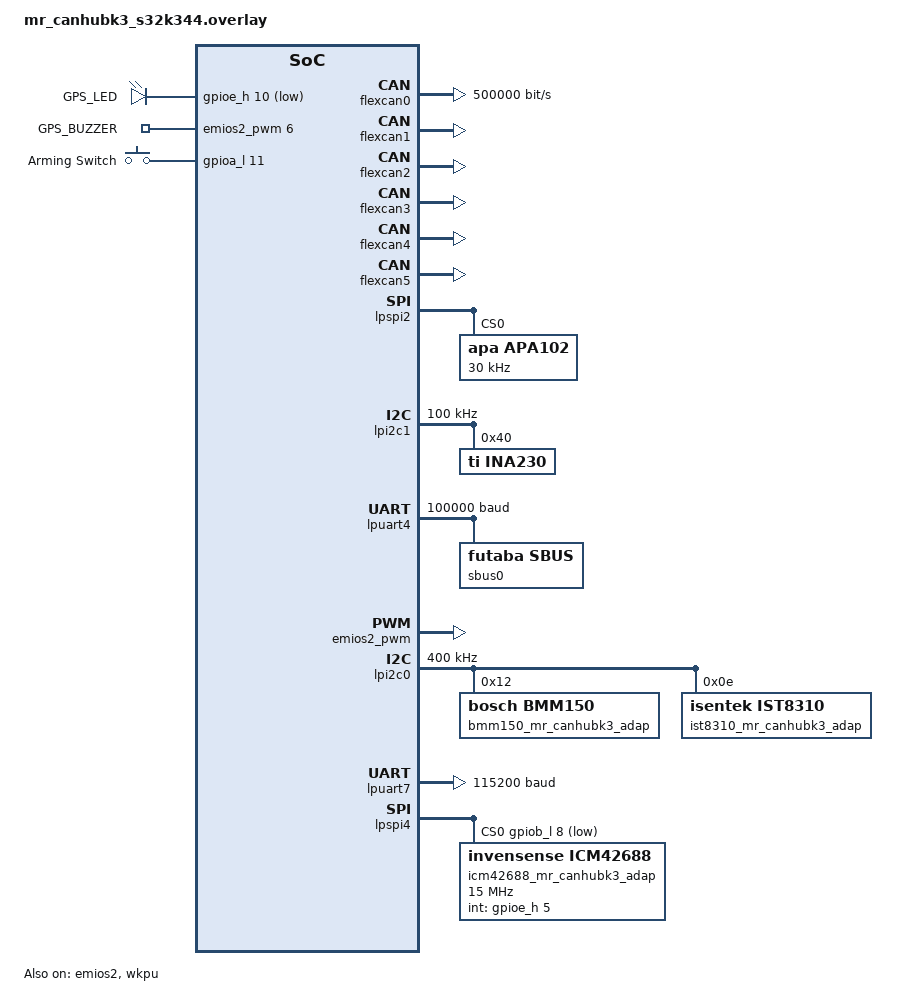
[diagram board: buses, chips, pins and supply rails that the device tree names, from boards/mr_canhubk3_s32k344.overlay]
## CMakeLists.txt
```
#-------------------------------------------------------------------------------
# Zephyr Cerebri Application
#
# Copyright (c) 2023 CogniPilot Foundation
# SPDX-License-Identifier: Apache-2.0

cmake_minimum_required(VERSION 3.13.1)

if (${BOARD} STREQUAL "mr_canhubk3")
  message(STATUS "enabling mr_canhubk3_adap shield")
  set(SHIELD mr_canhubk3_adap)
endif()

find_package(Zephyr REQUIRED HINTS $ENV{ZEPHYR_BASE})

project(b3rb LANGUAGES C)

set(SOURCE_FILES src/main.c)

if (CONFIG_CEREBRI_B3RB_FSM)
  list(APPEND SOURCE_FILES src/fsm.c)
endif()

if (CONFIG_CEREBRI_B3RB_ESTIMATE)
  list(APPEND SOURCE_FILES src/estimate.c)
endif()

if (CONFIG_CEREBRI_B3RB_MIXING)
  list(APPEND SOURCE_FILES src/mixing.c)
endif()

if (CONFIG_CEREBRI_B3RB_LIGHTING)
  list(APPEND SOURCE_FILES src/lighting.c)
endif()

if (CONFIG_CEREBRI_B3RB_MANUAL)
  list(APPEND SOURCE_FILES src/manual.c)
endif()

list(APPEND SOURCE_FILES src/farming.c)

if (CONFIG_CEREBRI_B3RB_POSITION)
  list(APPEND SOURCE_FILES
    src/position.c)
endif()

if (CONFIG_CEREBRI_B3RB_VELOCITY)
  list(APPEND SOURCE_FILES
    src/velocity.c)
endif()

if (CONFIG_CEREBRI_B3RB_CASADI)
  list(APPEND SOURCE_FILES
    src/casadi/gen/b3rb.c)
endif()

set(flags
  -std=c11
  -Wall
  -Wextra
  -Werror
  -Wstrict-prototypes
  -Waggregate-return
  -Wbad-function-cast
  -Wcast-align
  -Wcast-qual
  -Wfloat-equal
  -Wformat-security
  -Wlogical-op
  -Wmissing-declarations
  # ubxlib includes geographiclib which dir doesn't exist
  #-Wmissing-include-dirs
  -Wmissing-prototypes
  -Wnested-externs
  -Wpointer-arith
  -Wredundant-decls
  -Wsequence-point
  -Wshadow
  -Wstrict-prototypes
  -Wswitch
  -Wundef
  -Wunreachable-code
  -Wunused-but-set-parameter
  -Wwrite-strings
  )
string(JOIN " " flags ${flags})

set_source_files_properties(
  ${SOURCE_FILES}
  PROPERTIES COMPILE_FLAGS
  "${flags}"
  )

set_source_files_properties(
  src/casadi/gen/b3rb.c
  PROPERTIES COMPILE_FLAGS
  "${flags}\
  -Wno-unused-parameter\
  -Wno-missing-prototypes\
  -Wno-missing-declarations\
  -Wno-float-equal")

target_sources(app PRIVATE ${SOURCE_FILES})

target_include_directories(app SYSTEM BEFORE PRIVATE ${ZEPHYR_BASE}/include)

# vi: ts=2 sw=2 et
```

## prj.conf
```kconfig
CONFIG_CEREBRI_APP_NAME="b3rb"

CONFIG_SPI=y
CONFIG_DISPLAY=y
CONFIG_DISPLAY_INIT_PRIORITY=90
CONFIG_ST7735R=y

CONFIG_SYS_CLOCK_TICKS_PER_SEC=10000
CONFIG_TICKLESS_KERNEL=n

CONFIG_CEREBRI_DREAM_SIL=n

CONFIG_CEREBRI_B3RB_ESTIMATE=y
CONFIG_CEREBRI_B3RB_FSM=y
CONFIG_CEREBRI_B3RB_MANUAL=y
CONFIG_CEREBRI_B3RB_MIXING=y
CONFIG_CEREBRI_B3RB_POSITION=y
CONFIG_CEREBRI_B3RB_VELOCITY=y
CONFIG_CEREBRI_B3RB_LIGHTING=y
CONFIG_CEREBRI_B3RB_CASADI=y

CONFIG_CEREBRI_ACTUATE_PWM=y
CONFIG_CEREBRI_ACTUATE_LED_ARRAY=y
CONFIG_CEREBRI_ACTUATE_SOUND=y

CONFIG_NET_BUF_RX_COUNT=24
CONFIG_NET_PKT_RX_COUNT=24

CONFIG_CEREBRI_SENSE_POWER=n
CONFIG_CEREBRI_SENSE_SAFETY=n
CONFIG_CEREBRI_SENSE_IMU=y
CONFIG_CEREBRI_SENSE_MAG=y
CONFIG_CEREBRI_SENSE_WHEEL_ODOMETRY=y
CONFIG_CEREBRI_SENSE_UBX_GNSS=y

CONFIG_CEREBRI_SYNAPSE_ETH_RX=y
CONFIG_CEREBRI_SYNAPSE_ETH_TX=y
CONFIG_CEREBRI_SYNAPSE_ETHERNET=n

CONFIG_CEREBRI_SYNAPSE_TOPIC=y
CONFIG_CEREBRI_CORE_COMMON=y
CONFIG_CEREBRI_CORE_COMMON_BOOT_BANNER=y
CONFIG_CEREBRI_SYNAPSE_ZROS=y

CONFIG_SHELL_STACK_SIZE=10240
CONFIG_INIT_STACKS=y

CONFIG_LOG=y
CONFIG_LOG_CMDS=y
CONFIG_LOG_MODE_DEFERRED=y

CONFIG_ASSERT=y
CONFIG_TEST=y
CONFIG_CBPRINTF_FP_SUPPORT=y

# modules
CONFIG_SYNAPSE_PROTOBUF=y
CONFIG_SYNAPSE_TINYFRAME=y
CONFIG_NANOPB=y
CONFIG_UBXLIB=y

# Debug
CONFIG_CEREBRI_SENSE_WHEEL_ODOMETRY_LOG_LEVEL_DBG=n
CONFIG_CEREBRI_SENSE_IMU_LOG_LEVEL_DBG=n
CONFIG_CEREBRI_SENSE_SAFETY_LOG_LEVEL_DBG=n

# General config
CONFIG_POSIX_API=y
CONFIG_NEWLIB_LIBC=y
CONFIG_MAIN_THREAD_PRIORITY=5
CONFIG_SYSTEM_WORKQUEUE_PRIORITY=-2
CONFIG_SYS_CLOCK_TICKS_PER_SEC=10000
# Networking config
CONFIG_NET_SHELL=y
CONFIG_NETWORKING=y
CONFIG_NET_IPV4=y
CONFIG_NET_IPV6=n
CONFIG_NET_TCP=y
CONFIG_NET_SOCKETS=y

# Network address config
CONFIG_NET_CONFIG_SETTINGS=y
CONFIG_NET_STATISTICS=y
CONFIG_NET_MGMT_EVENT_INFO=y
CONFIG_NET_MGMT_EVENT_MONITOR=y
CONFIG_NET_BUF_POOL_USAGE=y
CONFIG_NET_DEBUG_NET_PKT_ALLOC=y
CONFIG_NET_CONFIG_NEED_IPV4=y
CONFIG_NET_CONFIG_MY_IPV4_ADDR="192.0.2.1"
CONFIG_NET_CONFIG_PEER_IPV4_ADDR="192.0.2.2"

# STATS
CONFIG_THREAD_RUNTIME_STATS=y
CONFIG_SCHED_THREAD_USAGE=y
CONFIG_SCHED_THREAD_USAGE_ANALYSIS=y
CONFIG_SCHED_THREAD_USAGE_ALL=y
CONFIG_SCHED_THREAD_USAGE_AUTO_ENABLE=y
```

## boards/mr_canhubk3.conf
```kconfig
CONFIG_GPIO=y

CONFIG_ENTROPY_GENERATOR=y
CONFIG_TEST_RANDOM_GENERATOR=y

CONFIG_CEREBRI_ACTUATE_PWM_NUMBER=2
CONFIG_LED_STRIP=y
CONFIG_APA102_STRIP=y

CONFIG_ETH_NXP_S32_RX_RING_LEN=16

# steering
CONFIG_CEREBRI_ACTUATE_PWM_USE_POS_0=y
CONFIG_CEREBRI_ACTUATE_PWM_INDEX_0=0
CONFIG_CEREBRI_ACTUATE_PWM_LINEAR_0=y
CONFIG_CEREBRI_ACTUATE_PWM_LINEAR_M_0=800
CONFIG_CEREBRI_ACTUATE_PWM_LINEAR_M_DIV_0=1
CONFIG_CEREBRI_ACTUATE_PWM_LINEAR_B_0=1500
CONFIG_CEREBRI_ACTUATE_PWM_LINEAR_B_DIV_0=1

# throttle
CONFIG_CEREBRI_ACTUATE_PWM_INDEX_1=0
CONFIG_CEREBRI_ACTUATE_PWM_USE_NANO_SECONDS_1=y
CONFIG_CEREBRI_ACTUATE_PWM_PULSE_MIN_1=0
CONFIG_CEREBRI_ACTUATE_PWM_PULSE_MAX_1=500000
CONFIG_CEREBRI_ACTUATE_PWM_PULSE_CENTER_1=25000
CONFIG_CEREBRI_ACTUATE_PWM_LINEAR_1=y
CONFIG_CEREBRI_ACTUATE_PWM_LINEAR_M_1=717
CONFIG_CEREBRI_ACTUATE_PWM_LINEAR_M_DIV_1=1
CONFIG_CEREBRI_ACTUATE_PWM_LINEAR_B_1=25000
CONFIG_CEREBRI_ACTUATE_PWM_LINEAR_B_DIV_1=1

# GPS M10
CONFIG_CEREBRI_SENSE_UBX_GNSS_MODULE_TYPE_M10=y

CONFIG_PWM=y

CONFIG_CAN=y
CONFIG_CAN_MAX_FILTER=5
CONFIG_CAN_SHELL=y

CONFIG_NET_DRIVERS=y
CONFIG_NET_CANBUS=y

CONFIG_NET_SOCKETS_CAN=y
CONFIG_NET_DEFAULT_IF_CANBUS_RAW=y

CONFIG_CAN_LOG_LEVEL_DBG=n
CONFIG_CAN_FD_MODE=y
CONFIG_SHELL_ARGC_MAX=72
CONFIG_I2C=y
CONFIG_SENSOR=y
CONFIG_HEAP_MEM_POOL_SIZE=16384

# Debugging
CONFIG_DEBUG_THREAD_INFO=y

# Logging
#CONFIG_LOG_BACKEND_NET=n
#CONFIG_LOG_BACKEND_NET_SERVER="192.0.2.2"
```

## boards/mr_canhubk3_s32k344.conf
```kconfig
CONFIG_ENTROPY_GENERATOR=y
CONFIG_TEST_RANDOM_GENERATOR=y
CONFIG_SPEED_OPTIMIZATIONS=y
CONFIG_SIZE_OPTIMIZATIONS=n

CONFIG_DISK_ACCESS=n
CONFIG_FS_FATFS_EXFAT=n
CONFIG_DISK_DRIVER_SDMMC=n
CONFIG_FS_FATFS_MOUNT_MKFS=n
CONFIG_CEREBRI_SYNAPSE_LOG_SDCARD=n

CONFIG_TEST=y
CONFIG_UBSAN=n
CONFIG_ASSERT=y
CONFIG_ASSERT_LEVEL=2
CONFIG_ASSERT_VERBOSE=y

CONFIG_SYSTEM_WORKQUEUE_STACK_SIZE=4096

CONFIG_STACK_CANARIES=y

CONFIG_ISR_STACK_SIZE=2048

CONFIG_LOG_MODE_DEFERRED=y
CONFIG_LOG_MODE_IMMEDIATE=n

CONFIG_FPU=y

# config
CONFIG_INPUT=y
CONFIG_INPUT_GPIO_KEYS=y
CONFIG_INPUT_SBUS=y
CONFIG_INPUT_SBUS_THREAD_STACK_SIZE=8192
CONFIG_INPUT_SBUS_REPORT_FILTER=0
CONFIG_INPUT_EVENT_DUMP=n
CONFIG_INPUT_SHELL=n
CONFIG_INPUT_MODE_SYNCHRONOUS=y
CONFIG_INPUT_THREAD_STACK_SIZE=2048


CONFIG_CEREBRI_SENSE_SBUS=y
CONFIG_CEREBRI_SENSE_IMU=y
CONFIG_CEREBRI_SENSE_MAG=y
CONFIG_CEREBRI_SENSE_SAFETY=y
CONFIG_CEREBRI_SENSE_UBX_GNSS=y

CONFIG_CEREBRI_SYNAPSE_ETH_RX=y
CONFIG_CEREBRI_SYNAPSE_ETH_TX=y

CONFIG_PWM=y
CONFIG_CEREBRI_ACTUATE_PWM=y
CONFIG_CEREBRI_ACTUATE_PWM_SHELL=n

CONFIG_LED_STRIP=y
CONFIG_APA102_STRIP=y
CONFIG_CEREBRI_ACTUATE_LED_ARRAY=y
CONFIG_CEREBRI_SENSE_MAG_COUNT=2
CONFIG_CEREBRI_SENSE_POWER=n
CONFIG_CEREBRI_ACTUATE_SOUND=y

CONFIG_ETH_NXP_S32_RX_RING_LEN=16

CONFIG_CAN=y
CONFIG_CAN_MAX_FILTER=5
CONFIG_CAN_SHELL=y

CONFIG_NET_DRIVERS=y
CONFIG_NET_CANBUS=y

CONFIG_NET_SOCKETS_CAN=y
CONFIG_NET_DEFAULT_IF_CANBUS_RAW=y

CONFIG_CAN_LOG_LEVEL_DBG=y
CONFIG_CAN_FD_MODE=y
CONFIG_SHELL_ARGC_MAX=72
CONFIG_I2C=y
CONFIG_SENSOR=y
CONFIG_SENSOR_SHELL=y
CONFIG_HEAP_MEM_POOL_SIZE=16384

# Debugging
CONFIG_DEBUG_THREAD_INFO=y

# Logging
#CONFIG_LOG_BACKEND_NET=n
#CONFIG_LOG_BACKEND_NET_SERVER="192.0.2.2"
```

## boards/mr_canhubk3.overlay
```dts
/* SPDX-License-Identifier: Apache-2.0 */
/* Copyright 2023 CogniPilot Foundation */
#include <zephyr/dt-bindings/sensor/ina230.h>

&eirq0_default {
	group1 {
		pinmux = <PTD15_EIRQ31>, <PTA18_EIRQ0>, <PTA25_EIRQ5>,
			 <PTD5_EIRQ13>, <PTA11_EIRQ19>, <PTE1_EIRQ1>;
		input-enable;
	};
};

&gpioa_l {
	status = "okay";
};

&gpioe_l {
	status = "okay";
};

// Notes for using the external GPIO.
// int-gpios = <&gpioa_l 11 GPIO_ACTIVE_LOW>; /* EXT_GPIO1 */
// xshut-gpios = <&gpioe_l 1 GPIO_ACTIVE_HIGH>; /* EXT_GPIO2 */

/ {
	pwm_shell: pwm_shell {
		compatible = "pwm-leds";
		aux0: aux0 {
			pwms = <&emios0_pwm 0 PWM_HZ(50) PWM_POLARITY_NORMAL>;
		};
		aux1: aux1 {
			pwms = <&emios0_pwm 2 PWM_HZ(20000) PWM_POLARITY_NORMAL>;
		};
		aux2: aux2 {
			pwms = <&emios0_pwm 1 PWM_HZ(20000) PWM_POLARITY_NORMAL>;
		};
		aux3: aux3 {
			pwms = <&emios0_pwm 3 PWM_HZ(50) PWM_POLARITY_NORMAL>;
		};
		aux4: aux4 {
			pwms = <&emios0_pwm 4 PWM_HZ(50) PWM_POLARITY_NORMAL>;
		};
		aux5: aux5 {
			pwms = <&emios0_pwm 5 PWM_HZ(50) PWM_POLARITY_NORMAL>;
		};
	};

	chosen {
		zephyr,canbus = &flexcan3;
	};

	aliases {
		can0 = &flexcan0;
		can1 = &flexcan1;
		can2 = &flexcan2;
		can3 = &flexcan3;
		can4 = &flexcan4;
		can5 = &flexcan5;
		/* power sensors */
		power0 = &ina230;
		/* safety button */
		safety-button = &arming_button_mr_canhubk3_adap;
		/* wheel odometry */
		wheel-odometry0 = &qdec0;
	};
};

&emios0_pwm {
	pwm_0 {
	};
	pwm_1 {
		prescaler = <1>;
		duty-cycle = <0>;
	};
	pwm_2 {
		prescaler = <1>;
	};
	pwm_3 {
		prescaler = <16>;
	};
	pwm_4 {
		prescaler = <16>;
	};
	pwm_5 {
		prescaler = <16>;
	};
};



&flexcan0 {
	status = "okay";
	bus-speed = <1000000>;
	bus-speed-data = <4000000>;
};

&flexcan1 {
	status = "okay";
	bus-speed = <1000000>;
	bus-speed-data = <4000000>;
};

&flexcan2 {
	status = "okay";
	bus-speed = <1000000>;
	bus-speed-data = <4000000>;
};

&flexcan3 {
	status = "okay";
	bus-speed = <1000000>;
	bus-speed-data = <4000000>;
};

&flexcan4 {
	status = "okay";
	bus-speed = <1000000>;
	bus-speed-data = <4000000>;
};

&flexcan5 {
	status = "okay";
	bus-speed = <1000000>;
	bus-speed-data = <4000000>;
};

&lpspi2 {
	status = "okay";
	apa102: apa102@0 {
	compatible = "apa,apa102";
		status = "okay";
		reg = <0>;
		spi-max-frequency = <30000>;
	};
};

&lpi2c1 {
	status = "okay";
	pinctrl-0 = <&lpi2c1_default>;
	pinctrl-names = "default";
	clock-frequency = <I2C_BITRATE_STANDARD>;

	ina230: ina230@40 {
		compatible = "ti,ina230";
		reg = <0x40>;
		current-lsb-microamps = <10000>;
		rshunt-micro-ohms = <2000>;
	};
};

/* GNSS 1 */
uart0: &lpuart7 {
	status = "okay";
	current-speed = <115200>;
};
```

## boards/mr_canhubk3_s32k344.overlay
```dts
/* SPDX-License-Identifier: Apache-2.0 */
/* Copyright 2023 CogniPilot Foundation */
#include <freq.h>
#include <zephyr/dt-bindings/gpio/nxp-s32-gpio.h>
#include <zephyr/dt-bindings/input/input-event-codes.h>
#include <zephyr/dt-bindings/led/led.h>
#include <zephyr/dt-bindings/sensor/ina230.h>
#include <zephyr/dt-bindings/sensor/icm42688.h>

/ {
	vesc_actuators: vesc_actuators {
		status = "okay";
		device = <&flexcan0>;
		compatible = "cerebri,vesc_can-actuators";
		// fd;
		pub-wheel-odometry;
		status-rate = <1>;

		vesc_child_1 {
			vesc-id = <0>;
			pole-pair = <15>;
			input-index = <0>;
			input-type = "velocity";
		};

	};

	/*
	pwm_actuators: pwm_actuators {
		compatible = "cerebri,pwm-actuators";
		aux0 {
			input-type = "position";
			input-index = <0>;
			pwms = <&emios0_pwm 0 PWM_HZ(50) PWM_POLARITY_NORMAL>;
			disarmed = <1500>;
			min = <1100>;
			max = <1900>;
			center = <1500>;
			scale = <800>;
			scale-div = <1>;

		};
		aux1 {
			input-type = "velocity";
			input-index = <0>;
			pwms = <&emios0_pwm 2 PWM_HZ(20000) PWM_POLARITY_NORMAL>;
			disarmed = <25000>;
			min = <0>;
			max = <50000>;
			center = <25000>;
			scale = <717>;
			scale-div = <1>;
			use-nano-seconds;
		};
		aux2 {
			input-type = "normalized";
			input-index = <0>;
			pwms = <&emios0_pwm 1 PWM_HZ(20000) PWM_POLARITY_NORMAL>;
			disarmed = <0>;
			min = <0>;
			max = <50000>;
			center = <0>;
			scale = <50000>;
			scale-div = <1>;
			use-nano-seconds;
		};
	};
	*/

	chosen {
		zephyr,canbus = &flexcan3;
	};

	aliases {
		can0 = &flexcan0;
		can1 = &flexcan1;
		can2 = &flexcan2;
		can3 = &flexcan3;
		can4 = &flexcan4;
		can5 = &flexcan5;
		accel0 = &icm42688_mr_canhubk3_adap;
		gyro0 = &icm42688_mr_canhubk3_adap;
		mag0 = &bmm150_mr_canhubk3_adap;
		mag1 = &ist8310_mr_canhubk3_adap;
		led0 = &gps_led_mr_canhubk3_adap;
		buzzer = &gps_buzzer_mr_canhubk3_adap;
		power0 = &ina230;
		wheel-odometry0 = &qdec0;
		sbus = &sbus0;
		safety-button = &safety_button_mr_canhubk3_adap;
	};
	cfg-device-gnss {
		status = "okay";
		compatible = "u-blox,ubxlib-device-gnss";
		transport-type = "uart0";
		uart-baud-rate = <115200>;
		module-type = "U_GNSS_MODULE_TYPE_M10";
	};
	leds {
		gps_led_mr_canhubk3_adap: gps_led {
			label = "GPS_LED";
			gpios = <&gpioe_h 10 GPIO_ACTIVE_LOW>;
		};
	};
	pwmbuzzers {
		compatible = "pwm-leds";

		gps_buzzer_mr_canhubk3_adap: gps_buzzer {
			label = "GPS_BUZZER";
			pwms = <&emios2_pwm 6 PWM_KHZ(1) PWM_POLARITY_NORMAL>;
		};
	};
	gpio_keys {
		compatible = "gpio-keys";
		safety_button_mr_canhubk3_adap: button_0 {
			label = "Arming Switch";
			gpios = <&gpioa_l 11 (GPIO_PULL_DOWN | GPIO_ACTIVE_HIGH)>;
			zephyr,code = <INPUT_KEY_0>;
		};
	};
};

&eirq0_default {
    group2 {
        pinmux = <PTA11_EIRQ19>;
        input-enable;
    };
};

&gpioa_l {
	status = "okay";
};

&emios0_pwm {
	pwm_0 {
		/delete-property/ period;
		/delete-property/ prescaler;
		master-bus = <&emios0_bus_a>;
		pwm-mode = "OPWMB";
		phase-shift = <100>;
		duty-cycle = <0>;
	};
	pwm_1 {
		prescaler = <1>;
		duty-cycle = <0>;
	};
	pwm_2 {
		prescaler = <1>;
	};
};

&flexcan0 {
	status = "okay";
	bitrate = <500000>;
};

&flexcan1 {
	status = "okay";
};

&flexcan2 {
	status = "okay";
};

&flexcan3 {
	status = "okay";
};

&flexcan4 {
	status = "okay";
};

&flexcan5 {
	status = "okay";
};

&lpspi2 {
	status = "okay";
	apa102: apa102@0 {
		compatible = "apa,apa102";
		reg = <0>;
		spi-max-frequency = <30000>;
		status = "okay";
		chain-length = <12>;
		color-mapping = <>;
	};
};

&lpi2c1 {
	status = "okay";
	pinctrl-0 = <&lpi2c1_default>;
	pinctrl-names = "default";
	clock-frequency = <I2C_BITRATE_STANDARD>;

	ina230: ina230@40 {
		compatible = "ti,ina230";
		reg = <0x40>;
		current-lsb-microamps = <10000>;
		rshunt-micro-ohms = <2000>;
	};
};

&lpuart4 {
	status = "okay";
	pinctrl-0 = <&lpuart4_mr_canhubk3_adap>;
	pinctrl-names = "default";
	current-speed = <100000>;
	single-wire;
	rx-invert;

	sbus0: sbus {
		compatible = "futaba,sbus";
		chan_1 {
			channel = <1>;
			type = <INPUT_EV_ABS>;
			zephyr,code = <1>;
		};
		chan_2 {
			channel = <2>;
			type = <INPUT_EV_ABS>;
			zephyr,code = <2>;
		};
		chan_3 {
			channel = <3>;
			type = <INPUT_EV_ABS>;
			zephyr,code = <3>;
		};
		chan_4 {
			channel = <4>;
			type = <INPUT_EV_ABS>;
			zephyr,code = <4>;
		};
		chan_5 {
			channel = <5>;
			type = <INPUT_EV_ABS>;
			zephyr,code = <5>;
		};
		chan_6 {
			channel = <6>;
			type = <INPUT_EV_ABS>;
			zephyr,code = <6>;
		};
		chan_7 {
			channel = <7>;
			type = <INPUT_EV_ABS>;
			zephyr,code = <7>;
		};
		chan_8 {
			channel = <8>;
			type = <INPUT_EV_ABS>;
			zephyr,code = <8>;
		};
		chan_9 {
			channel = <9>;
			type = <INPUT_EV_ABS>;
			zephyr,code = <9>;
		};
		chan_10 {
			channel = <10>;
			type = <INPUT_EV_ABS>;
			zephyr,code = <10>;
		};
		chan_11 {
			channel = <11>;
			type = <INPUT_EV_ABS>;
			zephyr,code = <11>;
		};
		chan_12 {
			channel = <12>;
			type = <INPUT_EV_ABS>;
			zephyr,code = <12>;
		};
		chan_13 {
			channel = <13>;
			type = <INPUT_EV_ABS>;
			zephyr,code = <13>;
		};
		chan_14 {
			channel = <14>;
			type = <INPUT_EV_ABS>;
			zephyr,code = <14>;
		};
		chan_15 {
			channel = <15>;
			type = <INPUT_EV_ABS>;
			zephyr,code = <15>;
		};
		chan_16 {
			channel = <16>;
			type = <INPUT_EV_ABS>;
			zephyr,code = <16>;
		};
	};
};

&emios2 {
	clock-divider = <160>;
	status = "okay";

	master_bus {
		/* Internal counter's clock = 160 MHz (eMIOS1 clk) / 160 / 1 = 1 MHz */
		emios2_bus_b {
			mode = "MCB_UP_COUNTER";
			prescaler = <1>;
			period = <DT_FREQ_K(2)>;
			status = "okay";
		};
	};

	emios2_pwm: pwm {
		pinctrl-0 = <&emios2_mr_canhubk3_adap>;
		pinctrl-names = "default";
		status = "okay";

		pwm_gps_buzzer {
			channel = <6>;
			duty-cycle = <0>;
			master-bus = <&emios2_bus_b>;
			pwm-mode = "OPWMB";
			polarity = "ACTIVE_HIGH";
		};
	};
};

&lpi2c0 {
	status = "okay";
	clock-frequency = <I2C_BITRATE_FAST>;

	bmm150_mr_canhubk3_adap: bmm150@12  {
		compatible = "bosch,bmm150";
		status = "okay";
		reg = <0x12>;
	};

	ist8310_mr_canhubk3_adap: ist8310@e {
		compatible = "isentek,ist8310";
		status = "okay";
		reg = <0xe>;
	};
};

&wkpu {
	status = "okay";
};

&pinctrl {
	lpspi4_mr_canhubk3_adap: lpspi4_mr_canhubk3_adap {
		group1 {
			pinmux = <PTB10_LPSPI4_SCK_O>, <PTB11_LPSPI4_SIN_O>;
			output-enable;
		};
		group2 {
			pinmux = <PTB9_LPSPI4_SOUT_I>;
			input-enable;
		};
	};

	emios2_mr_canhubk3_adap: emios2_mr_canhubk3_adap {
		group1 {
			pinmux = <PTE26_EMIOS_2_CH6_H_O>;
			output-enable;
		};
	};

	lpuart4_mr_canhubk3_adap: lpuart4_mr_canhubk3_adap {
		group1 {
			pinmux = <PTE11_LPUART4_TX_I>;
			input-enable;
		};
	};

	lpuart7_mr_canhubk3_adap: lpuart7_mr_canhubk3_adap {
		group1 {
			pinmux = <PTE1_LPUART7_TX_O>;
			output-enable;
		};
		group2 {
			pinmux = <PTE0_LPUART7_RX>;
			input-enable;
		};
	};
};

/* GNSS 1 */
uart0: &lpuart7 {
	status = "okay";
	pinctrl-0 = <&lpuart7_mr_canhubk3_adap>;
	pinctrl-names = "default";
	current-speed = <115200>;
};

&lpspi4 {
	status = "okay";
	pinctrl-0 = <&lpspi4_mr_canhubk3_adap>;
	pinctrl-names = "default";
	cs-gpios = <&gpiob_l 8 GPIO_ACTIVE_LOW>;

	icm42688_mr_canhubk3_adap: icm42688p0@0 {
		fifo-hires;
		compatible = "invensense,icm42688";
		reg = <0>;
		int-gpios = <&gpioe_h 5 NXP_S32_GPIO_INT_WKPU>;
		spi-max-frequency = <15000000>;
		accel-pwr-mode = <ICM42688_DT_ACCEL_LN>;
		accel-odr = <ICM42688_DT_ACCEL_ODR_200>;
		accel-fs = <ICM42688_DT_ACCEL_FS_16>;
		gyro-pwr-mode = <ICM42688_DT_GYRO_LN>;
		gyro-odr = <ICM42688_DT_GYRO_ODR_200>;
		gyro-fs = <ICM42688_DT_GYRO_FS_2000>;
	};
};
```

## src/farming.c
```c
/*
 * Copyright CogniPilot Foundation 2023
 * SPDX-License-Identifier: Apache-2.0
 */

#include <zephyr/kernel.h>
#include <zephyr/logging/log.h>

#include <zros/private/zros_node_struct.h>
#include <zros/private/zros_pub_struct.h>
#include <zros/private/zros_sub_struct.h>
#include <zros/zros_node.h>
#include <zros/zros_pub.h>
#include <zros/zros_sub.h>
#include <zephyr/drivers/gpio.h>

#include <synapse_topic_list.h>

#include "mixing.h"

#include <zephyr/drivers/pwm.h>

#define MY_STACK_SIZE 1024
#define MY_PRIORITY 4

LOG_MODULE_REGISTER(b3rb_farming, CONFIG_CEREBRI_B3RB_LOG_LEVEL);

typedef struct _context {
    struct zros_node node;
    synapse_msgs_Joy joy_farm;
    struct zros_sub sub_joy_farm;
} context;

static context g_ctx = {
    .node = {},
    .joy_farm = synapse_msgs_Joy_init_default,
    .sub_joy_farm = {},
};

static void init(context* ctx)
{
    zros_node_init(&ctx->node, "b3rb_farming");
    zros_sub_init(&ctx->sub_joy_farm, &ctx->node, &topic_joy_farm, &ctx->joy_farm, 10);
}

typedef struct actuator_pwm_t {
	uint32_t min;
	uint32_t max;
	uint32_t center;
	bool use_nano_seconds;
	const char* alias;
	float slope;
	float intercept;
	uint8_t index;
	struct pwm_dt_spec device;
} actuator_pwm_t;

actuator_pwm_t g_actuator_pwms_farming_1[] = {
	{
		.device = PWM_DT_SPEC_GET(DT_CHILD(DT_NODELABEL(pwm_shell), aux3)),
	},
};

actuator_pwm_t g_actuator_pwms_farming_2[] = {
	{
		.device = PWM_DT_SPEC_GET(DT_CHILD(DT_NODELABEL(pwm_shell), aux4)),
	},
};

#define USER_LED2_RED_NODE DT_NODELABEL(user_led2_red)
#define USER_LED3_RED_NODE DT_NODELABEL(user_led3_red)
const struct device *led_dev = DEVICE_DT_GET(DT_GPIO_CTLR(USER_LED2_RED_NODE, gpios));
const struct device *led_dev_2 = DEVICE_DT_GET(DT_GPIO_CTLR(USER_LED3_RED_NODE, gpios));
gpio_pin_t led_pin = DT_GPIO_PIN(USER_LED2_RED_NODE, gpios);
gpio_pin_t led_pin_2 = DT_GPIO_PIN(USER_LED3_RED_NODE, gpios);
gpio_flags_t led_flags = DT_GPIO_FLAGS(USER_LED2_RED_NODE, gpios);
gpio_flags_t led_flags_2 = DT_GPIO_FLAGS(USER_LED3_RED_NODE, gpios);

static void b3rb_farming_entry_point(void* p0, void* p1, void* p2)
{
    LOG_INF("init");
    context* ctx = p0;
    ARG_UNUSED(p1);
    ARG_UNUSED(p2);

    init(ctx);

    struct k_poll_event events[] = {
        *zros_sub_get_event(&ctx->sub_joy_farm),
    };

    int err = 0;

    if (!device_is_ready(led_dev)) {
        printk("LED device not ready\n");
        return;
    }

    int ret = gpio_pin_configure(led_dev, led_pin, GPIO_OUTPUT_ACTIVE | led_flags);
    if (ret != 0) {
        printk("Failed to configure LED pin\n");
    }

    ret = gpio_pin_configure(led_dev_2, led_pin_2, GPIO_OUTPUT_ACTIVE | led_flags_2);
    if (ret != 0) {
        printk("Failed to configure LED pin\n");
    }

    while (true) {
        int rc = 0;
        rc = k_poll(events, ARRAY_SIZE(events), K_MSEC(1000));
        if (rc != 0) {
            LOG_DBG("manual not receiving joy");
        }

        if (zros_sub_update_available(&ctx->sub_joy_farm)) {
            zros_sub_update(&ctx->sub_joy_farm);
        }

        actuator_pwm_t pwm_1 = g_actuator_pwms_farming_1[0];
        actuator_pwm_t pwm_2 = g_actuator_pwms_farming_2[0];
        err = pwm_set_pulse_dt(&pwm_1.device, PWM_USEC(ctx->joy_farm.axes[0] * 350 + 1500));
        err = pwm_set_pulse_dt(&pwm_2.device, PWM_USEC(ctx->joy_farm.axes[1] * 350 + 1500));
        LOG_ERR("manual not receiving joy %f", ctx->joy_farm.axes[0]);
        LOG_ERR("manual not receiving joy %f", ctx->joy_farm.axes[1]);

        if (ctx->joy_farm.axes[2] > 0.5) {
            gpio_pin_set(led_dev, led_pin, 1);
            k_sleep(K_MSEC(1000));
            gpio_pin_set(led_dev, led_pin, 0);
            k_sleep(K_MSEC(1000));
            gpio_pin_set(led_dev, led_pin, 1);
            k_sleep(K_MSEC(1000));
            gpio_pin_set(led_dev, led_pin, 0);
            k_sleep(K_MSEC(1000));
        }

        if (ctx->joy_farm.axes[3] > 0.5) {
            gpio_pin_set(led_dev_2, led_pin_2, 1);
            k_sleep(K_MSEC(1000));
            gpio_pin_set(led_dev_2, led_pin_2, 0);
            k_sleep(K_MSEC(1000));
        }
    }
}

K_THREAD_DEFINE(b3rb_farming, MY_STACK_SIZE,
    b3rb_farming_entry_point, (void*)&g_ctx, NULL, NULL,
    MY_PRIORITY, 0, 1000);
```
